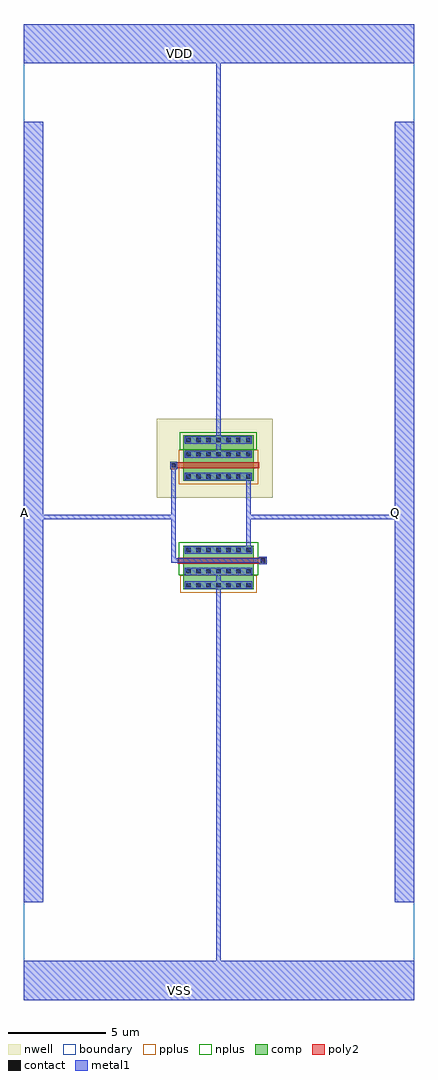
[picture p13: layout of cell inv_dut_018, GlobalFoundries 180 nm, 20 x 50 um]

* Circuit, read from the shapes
.subckt inv_dut_018 A Q VDD VSS
XM1 Q A VSS VSS nfet_03v3 w=3.6u l=0.3u
XM2 VDD A Q VDD pfet_03v3 w=3.6u l=0.3u
.ends

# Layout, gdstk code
from math import pi, radians
import gdstk
lib = gdstk.Library(unit=1e-6, precision=1e-09)
def R(c, l, rs):  # rectangles x0, y0, x1, y1
    for r in rs: c.add(gdstk.rectangle(r[:2], r[2:], *l))
def A(c, l, x, y, w, h, nx, ny, dx, dy):  # array of equal rectangles
    R(c, l, [(x+i*dx, y+j*dy, x+i*dx+w, y+j*dy+h) for i in range(nx) for j in range(ny)])
def P(c, l, *ps):  # polygons
    for p in ps: c.add(gdstk.Polygon(p, *l))
boundary = (0, 0)
nwell = (21, 0)
comp = (22, 0)
poly2 = (30, 0)
pplus = (31, 0)
nplus = (32, 0)
contact = (33, 0)
metal1 = (34, 0)

pfet_18 = lib.new_cell('pfet$18')
R(pfet_18, nwell, [(-1.32,-0.99,2.73,4.97)])
R(pfet_18, comp, [(-0.46,0,1.87,3.6)])
P(pfet_18, poly2, [(0.19,-0.3),(0.19,3.9),(0.15,3.9),(0.15,4.28),(0.53,4.28),(0.53,3.9),(0.49,3.9),(0.49,-0.3)])
R(pfet_18, pplus, [(-0.63,-0.24,1.14,3.84)])
R(pfet_18, nplus, [(1.14,-0.17,2.04,3.77)])
A(pfet_18, contact, -0.34, 0.16, 0.22, 0.22, 1, 7, 0, 0.51)
A(pfet_18, contact, 0.8, 0.16, 0.22, 0.22, 1, 7, 0, 0.51)
A(pfet_18, contact, 1.53, 0.16, 0.22, 0.22, 1, 7, 0, 0.51)
R(pfet_18, contact, [(0.23,3.98,0.45,4.2)])
R(pfet_18, metal1, [(-0.42,0.08,-0.04,3.52), (0.72,0.08,1.1,3.52), (1.45,0.08,1.83,3.52), (0.15,3.9,0.53,4.28)])

nfet_20 = lib.new_cell('nfet$20')
R(nfet_20, comp, [(-0.42,0,1.81,3.6)])
P(nfet_20, poly2, [(0.19,-0.3),(0.19,3.9),(0.16,3.9),(0.16,4.26),(0.52,4.26),(0.52,3.9),(0.49,3.9),(0.49,-0.3)])
R(nfet_20, pplus, [(1.1,-0.17,1.98,3.77)])
R(nfet_20, nplus, [(-0.59,-0.24,1.1,3.84)])
A(nfet_20, contact, -0.32, 0.16, 0.22, 0.22, 1, 7, 0, 0.51)
A(nfet_20, contact, 0.78, 0.16, 0.22, 0.22, 1, 7, 0, 0.51)
A(nfet_20, contact, 1.49, 0.16, 0.22, 0.22, 1, 7, 0, 0.51)
R(nfet_20, contact, [(0.23,3.97,0.45,4.19)])
R(nfet_20, metal1, [(-0.4,0.08,-0.02,3.52), (0.7,0.08,1.08,3.52), (1.41,0.08,1.79,3.52), (0.15,3.89,0.53,4.27)])

inv_dut_018 = lib.new_cell('inv_dut_018')
R(inv_dut_018, boundary, [(-10,-25,10,25)])
R(inv_dut_018, metal1, [(-10,-25,10,-23), (-10,-20,-9,20), (9,-20,10,20), (-10,23,10,25)])
inv_dut_018.add(gdstk.FlexPath([(-0.03,-3.04),(-0.03,-23.815)], 0.23, ends="flush", simple_path=True, layer=34, datatype=0))  # metal1
inv_dut_018.add(gdstk.FlexPath([(2.34,-2.49),(-2.32,-2.49),(-2.32,2.405)], 0.23, ends="flush", simple_path=True, layer=34, datatype=0))  # metal1
inv_dut_018.add(gdstk.FlexPath([(-0.035,2.965),(-0.035,24.185)], 0.23, ends="flush", simple_path=True, layer=34, datatype=0))  # metal1
inv_dut_018.add(gdstk.FlexPath([(1.5,1.82),(1.5,-2.04)], 0.23, ends="flush", simple_path=True, layer=34, datatype=0))  # metal1
inv_dut_018.add(gdstk.FlexPath([(1.5,-0.255),(9.415,-0.255)], 0.23, ends="flush", simple_path=True, layer=34, datatype=0))  # metal1
inv_dut_018.add(gdstk.FlexPath([(-2.305,-0.245),(-9.535,-0.245)], 0.23, ends="flush", simple_path=True, layer=34, datatype=0))  # metal1
inv_dut_018.add(gdstk.Reference(pfet_18, (1.77,2.05), rotation=pi/2))
inv_dut_018.add(gdstk.Reference(nfet_20, (-1.825,-2.15), rotation=3*pi/2))
inv_dut_018.add(gdstk.Label('VDD', (-2,23.5), layer=34, texttype=10))
inv_dut_018.add(gdstk.Label('VSS', (-2,-24.5), layer=34, texttype=10))
inv_dut_018.add(gdstk.Label('A', (-9.97,0), layer=34, texttype=10))
inv_dut_018.add(gdstk.Label('Q', (9.03,0), layer=34, texttype=10))

lib.write_gds('inv_dut_018.gds')
